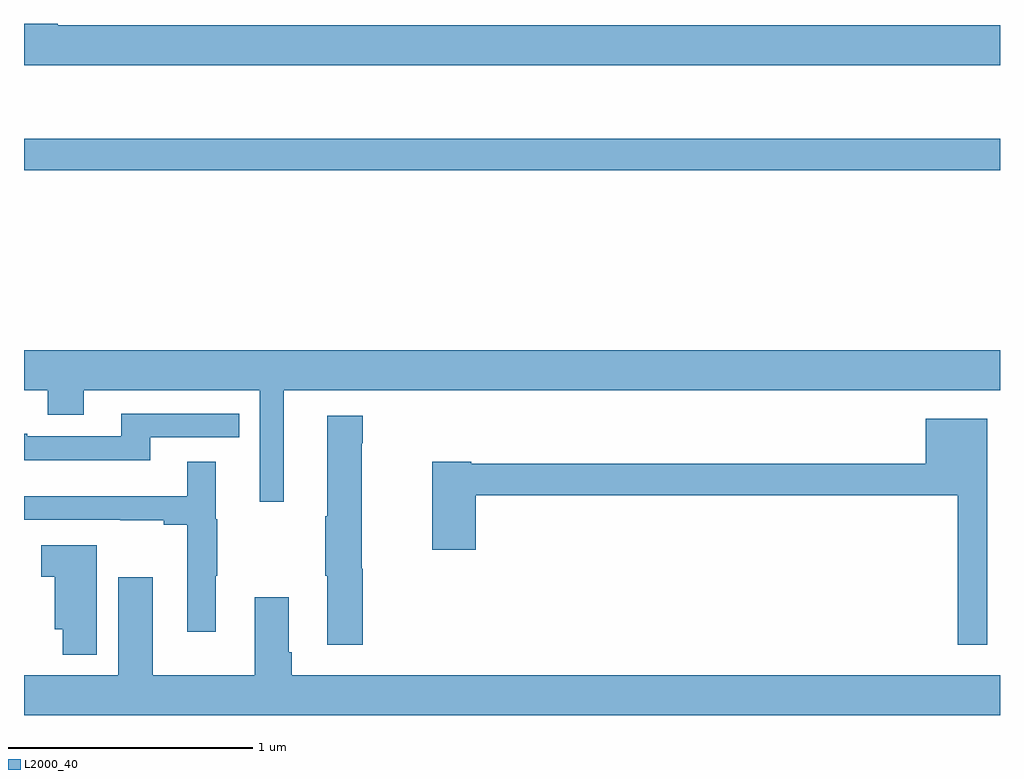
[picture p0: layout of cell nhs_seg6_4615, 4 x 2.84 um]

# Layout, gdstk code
import gdstk
lib = gdstk.Library(unit=1e-6, precision=1e-09)
def R(c, l, rs):  # rectangles x0, y0, x1, y1
    for r in rs: c.add(gdstk.rectangle(r[:2], r[2:], *l))
def P(c, l, *ps):  # polygons
    for p in ps: c.add(gdstk.Polygon(p, *l))
L2000_40 = (2000, 40)

nhs_seg6_4615 = lib.new_cell('nhs_seg6_4615')
R(nhs_seg6_4615, L2000_40, [(383,954.898,387,955.027)])
P(nhs_seg6_4615, L2000_40, [(387,955.492),(383.138,955.492),(383.138,955.5),(383,955.5),(383,955.328),(387,955.328)],
  [(384.064,953.996),(387,953.996),(387,954.16),(383,954.16),(383,953.996),(383.098,953.996),(383.098,953.897),(383.245,953.897),(383.245,953.996),(383.967,953.996),(383.967,953.541),(384.064,953.541)],
  [(383.518,953.805),(383.882,953.805),(383.882,953.901),(383.399,953.901),(383.399,953.808),(383.013,953.808),(383.013,953.818),(383,953.818),(383,953.711),(383.518,953.711)],
  [(384.389,953.265),(384.384,953.265),(384.384,953.78),(384.389,953.78),(384.389,953.893),(384.242,953.893),(384.242,953.48),(384.235,953.48),(384.235,953.236),(384.242,953.236),(384.242,952.953),(384.389,952.953)],
  [(386.947,953.881),(386.696,953.881),(386.696,953.695),(384.834,953.695),(384.834,953.703),(384.673,953.703),(384.673,953.343),(384.851,953.343),(384.851,953.566),(386.826,953.566),(386.826,952.953),(386.947,952.953)],
  [(383.785,953.236),(383.793,953.236),(383.793,953.469),(383.785,953.469),(383.785,953.704),(383.669,953.704),(383.669,953.563),(383,953.563),(383,953.466),(383.395,953.466),(383.395,953.464),(383.573,953.464),(383.573,953.446),(383.669,953.446),(383.669,953.007),(383.785,953.007)],
  [(383.299,953.362),(383.07,953.362),(383.07,953.233),(383.126,953.233),(383.126,953.018),(383.159,953.018),(383.159,952.913),(383.299,952.913)],
  [(387,952.828),(384.098,952.828),(384.098,952.924),(384.085,952.924),(384.085,953.149),(383.945,953.149),(383.945,952.828),(383.527,952.828),(383.527,953.23),(383.387,953.23),(383.387,952.828),(383,952.828),(383,952.664),(387,952.664)])

lib.write_gds('nhs_seg6_4615.gds')
